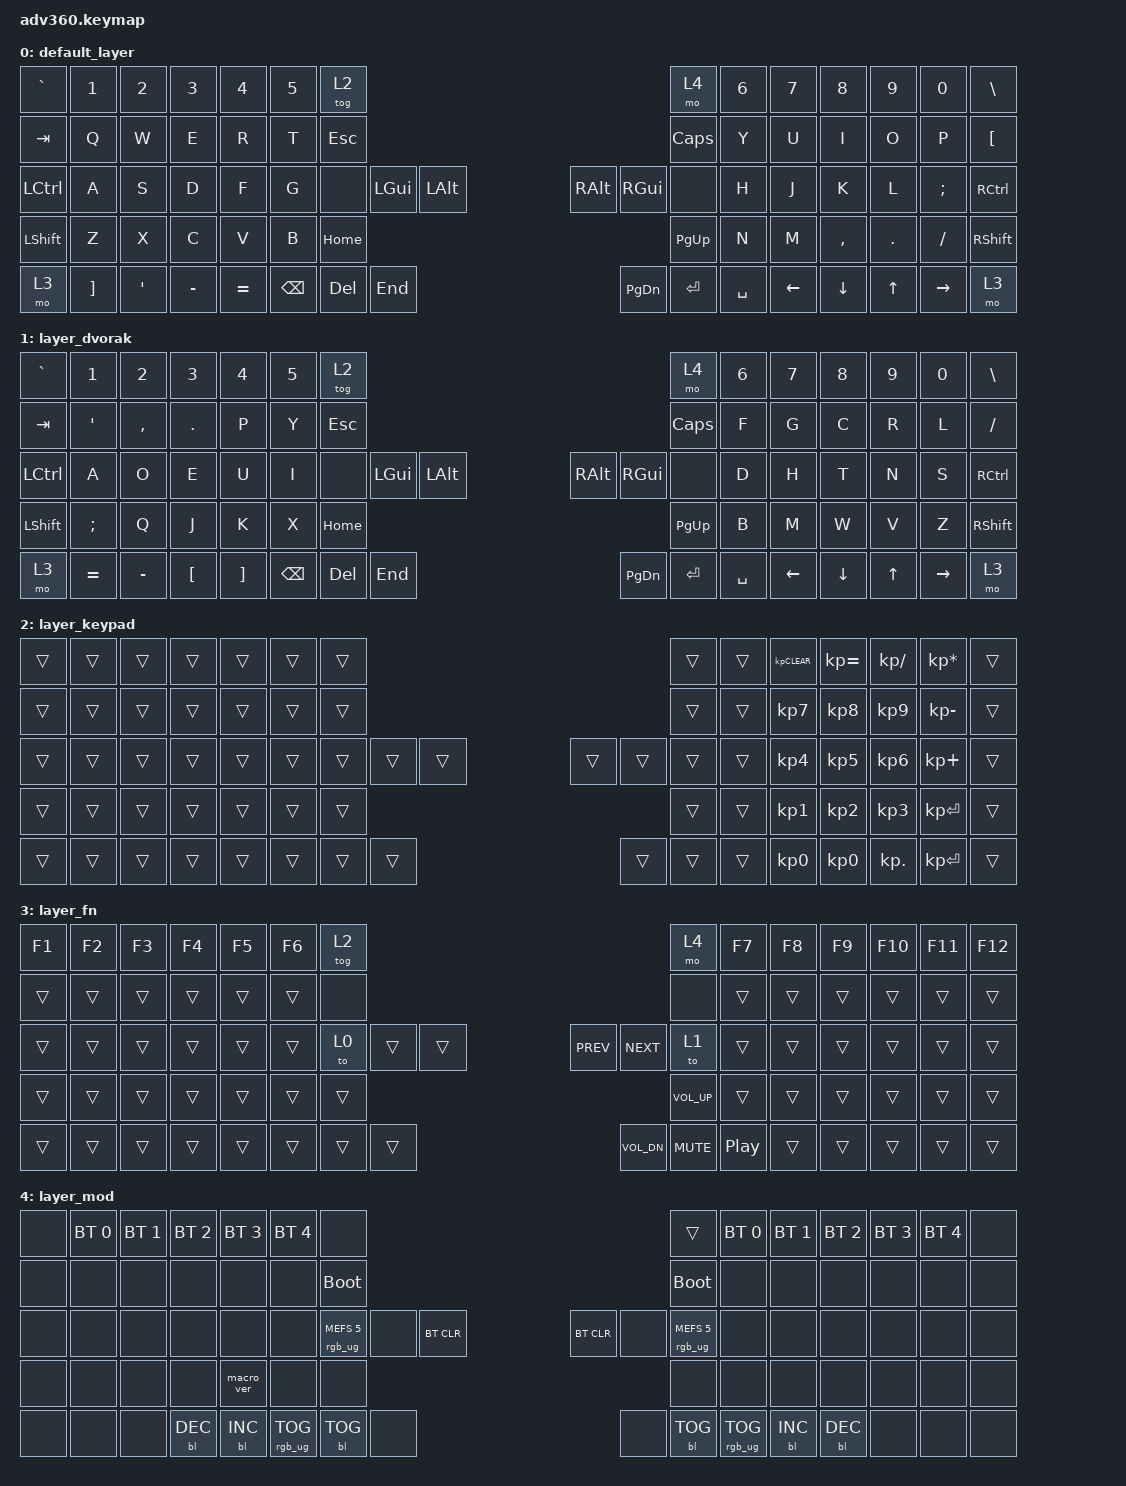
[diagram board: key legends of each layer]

/*
 * Copyright (c) 2020 The ZMK Contributors
 *
 * SPDX-License-Identifier: MIT
 */


/* THIS FILE WAS GENERATED!
 *
 * This file was generated automatically. You may or may not want to
 * edit it directly.
 */

#include <behaviors.dtsi>
#include <dt-bindings/zmk/keys.h>
#include <dt-bindings/zmk/bt.h>
#include <dt-bindings/zmk/rgb.h>
#include <dt-bindings/zmk/backlight.h>

/ {
  behaviors {
    #include "macros.dtsi"
    #include "version.dtsi"

    hm: homerow_mods {
        compatible = "zmk,behavior-hold-tap";
        label = "HOMEROW_MODS";
        #binding-cells = <2>;
        tapping-term-ms = <200>;
        quick_tap_ms = <175>;
        flavor = "tap-preferred";
        bindings = <&kp>, <&kp>;
    };
  };

    keymap {
        compatible = "zmk,keymap";


        default_layer {
            bindings = <
 &kp GRAVE    &kp N1   &kp N2     &kp N3     &kp N4  &kp N5              &tog 2                                                                &mo 4  &kp N6    &kp N7     &kp N8   &kp N9     &kp N0   &kp BSLH
   &kp TAB     &kp Q    &kp W      &kp E      &kp R   &kp T             &kp ESC                                                             &kp CAPS   &kp Y     &kp U      &kp I    &kp O      &kp P   &kp LBKT
 &kp LCTRL     &kp A    &kp S      &kp D      &kp F   &kp G               &none  &kp LGUI  &kp LALT                   &kp RALT   &kp RGUI      &none   &kp H     &kp J      &kp K    &kp L   &kp SEMI  &kp RCTRL
 &kp LSHFT     &kp Z    &kp X      &kp C      &kp V   &kp B                                &kp HOME                  &kp PG_UP                         &kp N     &kp M  &kp COMMA  &kp DOT   &kp FSLH  &kp RSHFT
     &mo 3  &kp RBKT  &kp SQT  &kp MINUS  &kp EQUAL                    &kp BSPC   &kp DEL   &kp END                  &kp PG_DN  &kp ENTER  &kp SPACE          &kp LEFT   &kp DOWN   &kp UP  &kp RIGHT      &mo 3
            >;
        };

        layer_dvorak {
            bindings = <
 &kp GRAVE         &kp N1     &kp N2    &kp N3    &kp N4  &kp N5              &tog 2                                                                &mo 4  &kp N6    &kp N7    &kp N8  &kp N9     &kp N0   &kp BSLH
   &kp TAB        &kp SQT  &kp COMMA   &kp DOT     &kp P   &kp Y             &kp ESC                                                             &kp CAPS   &kp F     &kp G     &kp C   &kp R      &kp L  &kp SLASH
 &kp LCTRL          &kp A      &kp O     &kp E     &kp U   &kp I               &none  &kp LGUI  &kp LALT                   &kp RALT   &kp RGUI      &none   &kp D     &kp H     &kp T   &kp N      &kp S  &kp RCTRL
 &kp LSHFT  &kp SEMICOLON      &kp Q     &kp J     &kp K   &kp X                                &kp HOME                  &kp PG_UP                         &kp B     &kp M     &kp W   &kp V      &kp Z  &kp RSHFT
     &mo 3      &kp EQUAL  &kp MINUS  &kp LBKT  &kp RBKT                    &kp BSPC   &kp DEL   &kp END                  &kp PG_DN  &kp ENTER  &kp SPACE          &kp LEFT  &kp DOWN  &kp UP  &kp RIGHT      &mo 3
            >;
        };

        layer_keypad {
            bindings = <
 &trans  &trans  &trans  &trans  &trans  &trans            &trans                                                  &trans  &trans  &kp KP_CLEAR  &kp KP_EQUAL  &kp KP_SLASH  &kp KP_MULTIPLY  &trans
 &trans  &trans  &trans  &trans  &trans  &trans            &trans                                                  &trans  &trans     &kp KP_N7     &kp KP_N8     &kp KP_N9     &kp KP_MINUS  &trans
 &trans  &trans  &trans  &trans  &trans  &trans            &trans  &trans  &trans                  &trans  &trans  &trans  &trans     &kp KP_N4     &kp KP_N5     &kp KP_N6      &kp KP_PLUS  &trans
 &trans  &trans  &trans  &trans  &trans  &trans                            &trans                  &trans                  &trans     &kp KP_N1     &kp KP_N2     &kp KP_N3     &kp KP_ENTER  &trans
 &trans  &trans  &trans  &trans  &trans                    &trans  &trans  &trans                  &trans  &trans  &trans             &kp KP_N0     &kp KP_N0    &kp KP_DOT     &kp KP_ENTER  &trans
            >;
        };

        layer_fn {
            bindings = <
 &kp F1  &kp F2  &kp F3  &kp F4  &kp F5  &kp F6            &tog 2                                                               &mo 4  &kp F7  &kp F8  &kp F9  &kp F10  &kp F11  &kp F12
 &trans  &trans  &trans  &trans  &trans  &trans             &none                                                               &none  &trans  &trans  &trans   &trans   &trans   &trans
 &trans  &trans  &trans  &trans  &trans  &trans             &to 0  &trans  &trans                    &kp C_PREV  &kp C_NEXT     &to 1  &trans  &trans  &trans   &trans   &trans   &trans
 &trans  &trans  &trans  &trans  &trans  &trans                            &trans                  &kp C_VOL_UP                        &trans  &trans  &trans   &trans   &trans   &trans
 &trans  &trans  &trans  &trans  &trans                    &trans  &trans  &trans                  &kp C_VOL_DN  &kp C_MUTE  &kp C_PP          &trans  &trans   &trans   &trans   &trans
            >;
        };

        layer_mod {
            bindings = <
  &none  &bt BT_SEL 0  &bt BT_SEL 1  &bt BT_SEL 2  &bt BT_SEL 3  &bt BT_SEL 4                             &none                                                                                  &trans  &bt BT_SEL 0  &bt BT_SEL 1  &bt BT_SEL 2  &bt BT_SEL 3  &bt BT_SEL 4   &none
  &none         &none         &none         &none         &none         &none                       &bootloader                                                                             &bootloader         &none         &none         &none         &none         &none   &none
  &none         &none         &none         &none         &none         &none            &rgb_ug RGB_MEFS_CMD 5       &none  &bt BT_CLR                  &bt BT_CLR       &none  &rgb_ug RGB_MEFS_CMD 5         &none         &none         &none         &none         &none   &none
  &none         &none         &none         &none    &macro_ver         &none                                                     &none                       &none                                             &none         &none         &none         &none         &none   &none
  &none         &none         &none    &bl BL_DEC    &bl BL_INC                                 &rgb_ug RGB_TOG  &bl BL_TOG       &none                       &none  &bl BL_TOG         &rgb_ug RGB_TOG                  &bl BL_INC    &bl BL_DEC         &none         &none   &none
            >;
        };

    };
};
